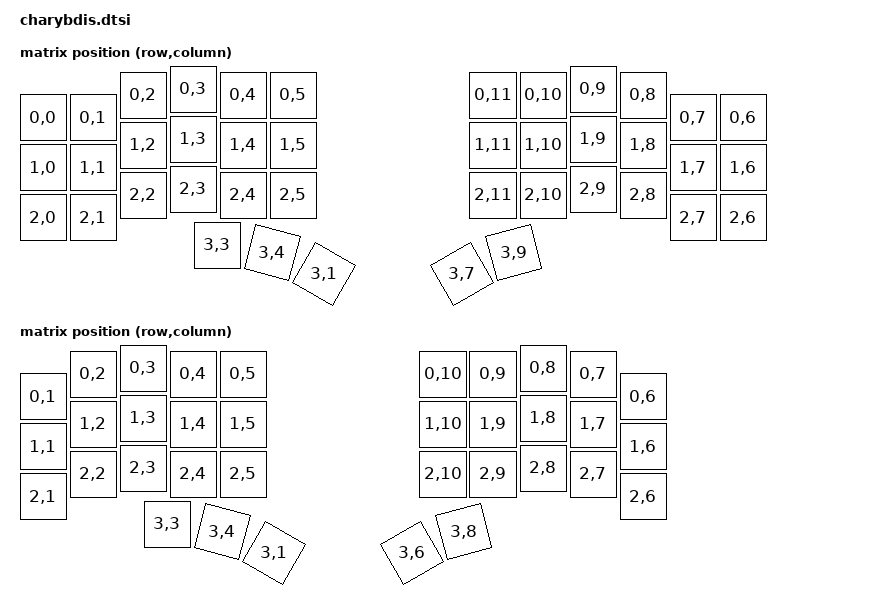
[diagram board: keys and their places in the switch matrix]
#include <dt-bindings/zmk/matrix_transform.h>
#include <physical_layouts.dtsi>

/ {
    chosen {
        zmk,kscan = &kscan0;
        zmk,physical-layout = &charybdis_6col_layout;
    };

    default_transform: keymap_transform_0 {
        compatible = "zmk,matrix-transform";
        columns = <12>;
        rows = <4>;

        map = <
	RC(0,0) RC(0,1) RC(0,2) RC(0,3) RC(0,4) RC(0,5)  RC(0,11) RC(0,10) RC(0,9) RC(0,8) RC(0,7) RC(0,6)
	RC(1,0) RC(1,1) RC(1,2) RC(1,3) RC(1,4) RC(1,5)  RC(1,11) RC(1,10) RC(1,9) RC(1,8) RC(1,7) RC(1,6)
	RC(2,0) RC(2,1) RC(2,2) RC(2,3) RC(2,4) RC(2,5)  RC(2,11) RC(2,10) RC(2,9) RC(2,8) RC(2,7) RC(2,6)
							RC(3,3) RC(3,4) RC(3,1)  RC(3,7)  RC(3,9)
        >;
    };

    five_column_transform: keymap_transform_1 {
        compatible = "zmk,matrix-transform";
        columns = <10>;
        rows = <4>;

        map = <
	RC(0,1) RC(0,2) RC(0,3) RC(0,4) RC(0,5)  RC(0,10) RC(0,9) RC(0,8) RC(0,7) RC(0,6)
	RC(1,1) RC(1,2) RC(1,3) RC(1,4) RC(1,5)  RC(1,10) RC(1,9) RC(1,8) RC(1,7) RC(1,6)
	RC(2,1) RC(2,2) RC(2,3) RC(2,4) RC(2,5)  RC(2,10) RC(2,9) RC(2,8) RC(2,7) RC(2,6)
					RC(3,3) RC(3,4) RC(3,1)  RC(3,6)  RC(3,8)
        >;
    };
	
    kscan0: kscan {
        diode-direction = "row2col";
    };

    charybdis_6col_layout: charybdis_6col_layout {
        compatible = "zmk,physical-layout";
        display-name = "6-column";

        transform = <&default_transform>;

        keys  //                     w   h    x    y     rot    rx    ry
            = <&key_physical_attrs 100 100    0   57       0     0     0>
            , <&key_physical_attrs 100 100  100   57       0     0     0>
            , <&key_physical_attrs 100 100  200   12       0     0     0>
            , <&key_physical_attrs 100 100  300    0       0     0     0>
            , <&key_physical_attrs 100 100  400   12       0     0     0>
            , <&key_physical_attrs 100 100  500   12       0     0     0>
            , <&key_physical_attrs 100 100  900   12       0     0     0>
            , <&key_physical_attrs 100 100 1000   12       0     0     0>
            , <&key_physical_attrs 100 100 1100    0       0     0     0>
            , <&key_physical_attrs 100 100 1200   12       0     0     0>
            , <&key_physical_attrs 100 100 1300   57       0     0     0>
            , <&key_physical_attrs 100 100 1400   57       0     0     0>
            , <&key_physical_attrs 100 100    0  157       0     0     0>
            , <&key_physical_attrs 100 100  100  157       0     0     0>
            , <&key_physical_attrs 100 100  200  112       0     0     0>
            , <&key_physical_attrs 100 100  300  100       0     0     0>
            , <&key_physical_attrs 100 100  400  112       0     0     0>
            , <&key_physical_attrs 100 100  500  112       0     0     0>
            , <&key_physical_attrs 100 100  900  112       0     0     0>
            , <&key_physical_attrs 100 100 1000  112       0     0     0>
            , <&key_physical_attrs 100 100 1100  100       0     0     0>
            , <&key_physical_attrs 100 100 1200  112       0     0     0>
            , <&key_physical_attrs 100 100 1300  157       0     0     0>
            , <&key_physical_attrs 100 100 1400  157       0     0     0>
            , <&key_physical_attrs 100 100    0  257       0     0     0>
            , <&key_physical_attrs 100 100  100  257       0     0     0>
            , <&key_physical_attrs 100 100  200  212       0     0     0>
            , <&key_physical_attrs 100 100  300  200       0     0     0>
            , <&key_physical_attrs 100 100  400  212       0     0     0>
            , <&key_physical_attrs 100 100  500  212       0     0     0>
            , <&key_physical_attrs 100 100  900  212       0     0     0>
            , <&key_physical_attrs 100 100 1000  212       0     0     0>
            , <&key_physical_attrs 100 100 1100  200       0     0     0>
            , <&key_physical_attrs 100 100 1200  212       0     0     0>
            , <&key_physical_attrs 100 100 1300  257       0     0     0>
            , <&key_physical_attrs 100 100 1400  257       0     0     0>
            , <&key_physical_attrs 100 100  348  312       0     0     0>
            , <&key_physical_attrs 100 100  348  312    1500   398   789>
            , <&key_physical_attrs 100 100  348  312    3000   398   789>
            , <&key_physical_attrs 100 100 1052  312 (-3000)  1102   789>
            , <&key_physical_attrs 100 100 1052  312 (-1500)  1102   789>
            ;
    };

    charybdis_5col_layout: charybdis_5col_layout{
        compatible = "zmk,physical-layout";
        display-name = "5-column";

        transform = <&five_column_transform>;

        keys  //                     w   h    x    y     rot    rx    ry
            = <&key_physical_attrs 100 100    0   57       0     0     0>
            , <&key_physical_attrs 100 100  100   12       0     0     0>
            , <&key_physical_attrs 100 100  200    0       0     0     0>
            , <&key_physical_attrs 100 100  300   12       0     0     0>
            , <&key_physical_attrs 100 100  400   12       0     0     0>
            , <&key_physical_attrs 100 100  800   12       0     0     0>
            , <&key_physical_attrs 100 100  900   12       0     0     0>
            , <&key_physical_attrs 100 100 1000    0       0     0     0>
            , <&key_physical_attrs 100 100 1100   12       0     0     0>
            , <&key_physical_attrs 100 100 1200   57       0     0     0>
            , <&key_physical_attrs 100 100    0  157       0     0     0>
            , <&key_physical_attrs 100 100  100  112       0     0     0>
            , <&key_physical_attrs 100 100  200  100       0     0     0>
            , <&key_physical_attrs 100 100  300  112       0     0     0>
            , <&key_physical_attrs 100 100  400  112       0     0     0>
            , <&key_physical_attrs 100 100  800  112       0     0     0>
            , <&key_physical_attrs 100 100  900  112       0     0     0>
            , <&key_physical_attrs 100 100 1000  100       0     0     0>
            , <&key_physical_attrs 100 100 1100  112       0     0     0>
            , <&key_physical_attrs 100 100 1200  157       0     0     0>
            , <&key_physical_attrs 100 100    0  257       0     0     0>
            , <&key_physical_attrs 100 100  100  212       0     0     0>
            , <&key_physical_attrs 100 100  200  200       0     0     0>
            , <&key_physical_attrs 100 100  300  212       0     0     0>
            , <&key_physical_attrs 100 100  400  212       0     0     0>
            , <&key_physical_attrs 100 100  800  212       0     0     0>
            , <&key_physical_attrs 100 100  900  212       0     0     0>
            , <&key_physical_attrs 100 100 1000  200       0     0     0>
            , <&key_physical_attrs 100 100 1100  212       0     0     0>
            , <&key_physical_attrs 100 100 1200  257       0     0     0>
            , <&key_physical_attrs 100 100  248  312       0     0     0>
            , <&key_physical_attrs 100 100  248  312    1500   298   789>
            , <&key_physical_attrs 100 100  248  312    3000   298   789>
            , <&key_physical_attrs 100 100  952  312 (-3000)  1002   789>
            , <&key_physical_attrs 100 100  952  312 (-1500)  1002   789>
            ;
    };

    charybdis_position_map {
        compatible = "zmk,physical-layout-position-map";

        complete;

        twelve {
            physical-layout = <&charybdis_6col_layout>;
            positions
                = < 0  1  2  3  4  5  6  7  8  9 10 11 >
                , <12 13 14 15 16 17 18 19 20 21 22 23 >
                , <24 25 26 27 28 29 30 31 32 33 34 35 >
                , <         36 37 38 39 40             >
                ;
        };

        ten {
            physical-layout = <&charybdis_5col_layout>;
            positions
                = <35  0  1  2  3  4  5  6  7  8  9 36>
                , <37 10 11 12 13 14 15 16 17 18 19 38>
                , <39 20 21 22 23 24 25 26 27 28 29 40>
                , <         30 31 32 33 34            >
                ;
        };
    };
};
